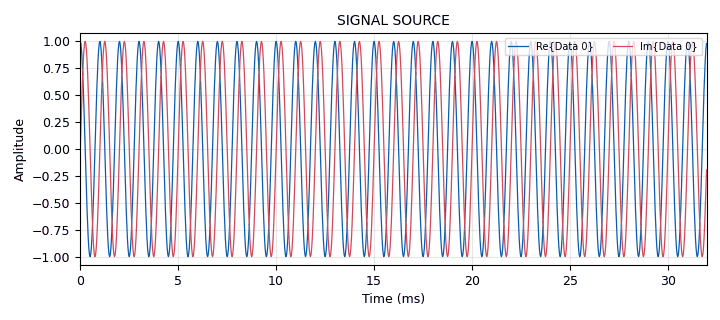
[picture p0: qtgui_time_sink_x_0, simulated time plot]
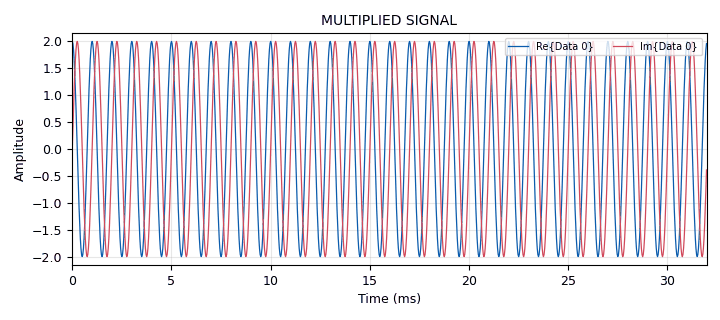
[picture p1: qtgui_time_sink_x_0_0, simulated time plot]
options:
  parameters:
    author: aminmahjoub
    generate_options: qt_gui
    id: fast_multiply
    output_language: python
    title: Not titled yet
  states: {}

blocks:
- name: samp_rate
  id: variable
  parameters:
    value: '32000'
  states: {}
- name: analog_sig_source_x_0
  id: analog_sig_source_x
  parameters:
    amp: '1'
    freq: '1000'
    offset: '0'
    phase: '0'
    samp_rate: samp_rate
    type: complex
    waveform: analog.GR_SIN_WAVE
  states: {}
- name: blocks_multiply_const_xx_0
  id: blocks_multiply_const_xx
  parameters:
    const: '2'
    type: complex
  states: {}
- name: qtgui_time_sink_x_0
  id: qtgui_time_sink_x
  parameters:
    name: SIGNAL SOURCE
    size: '1024'
    srate: samp_rate
    type: complex
  states: {}
- name: qtgui_time_sink_x_0_0
  id: qtgui_time_sink_x
  parameters:
    name: MULTIPLIED SIGNAL
    size: '1024'
    srate: samp_rate
    type: complex
    ymax: '2'
    ymin: '-2'
  states: {}

connections:
- [analog_sig_source_x_0, '0', blocks_multiply_const_xx_0, '0']
- [analog_sig_source_x_0, '0', qtgui_time_sink_x_0, '0']
- [blocks_multiply_const_xx_0, '0', qtgui_time_sink_x_0_0, '0']

metadata:
  file_format: 1
  grc_version: 3.10.12.0
